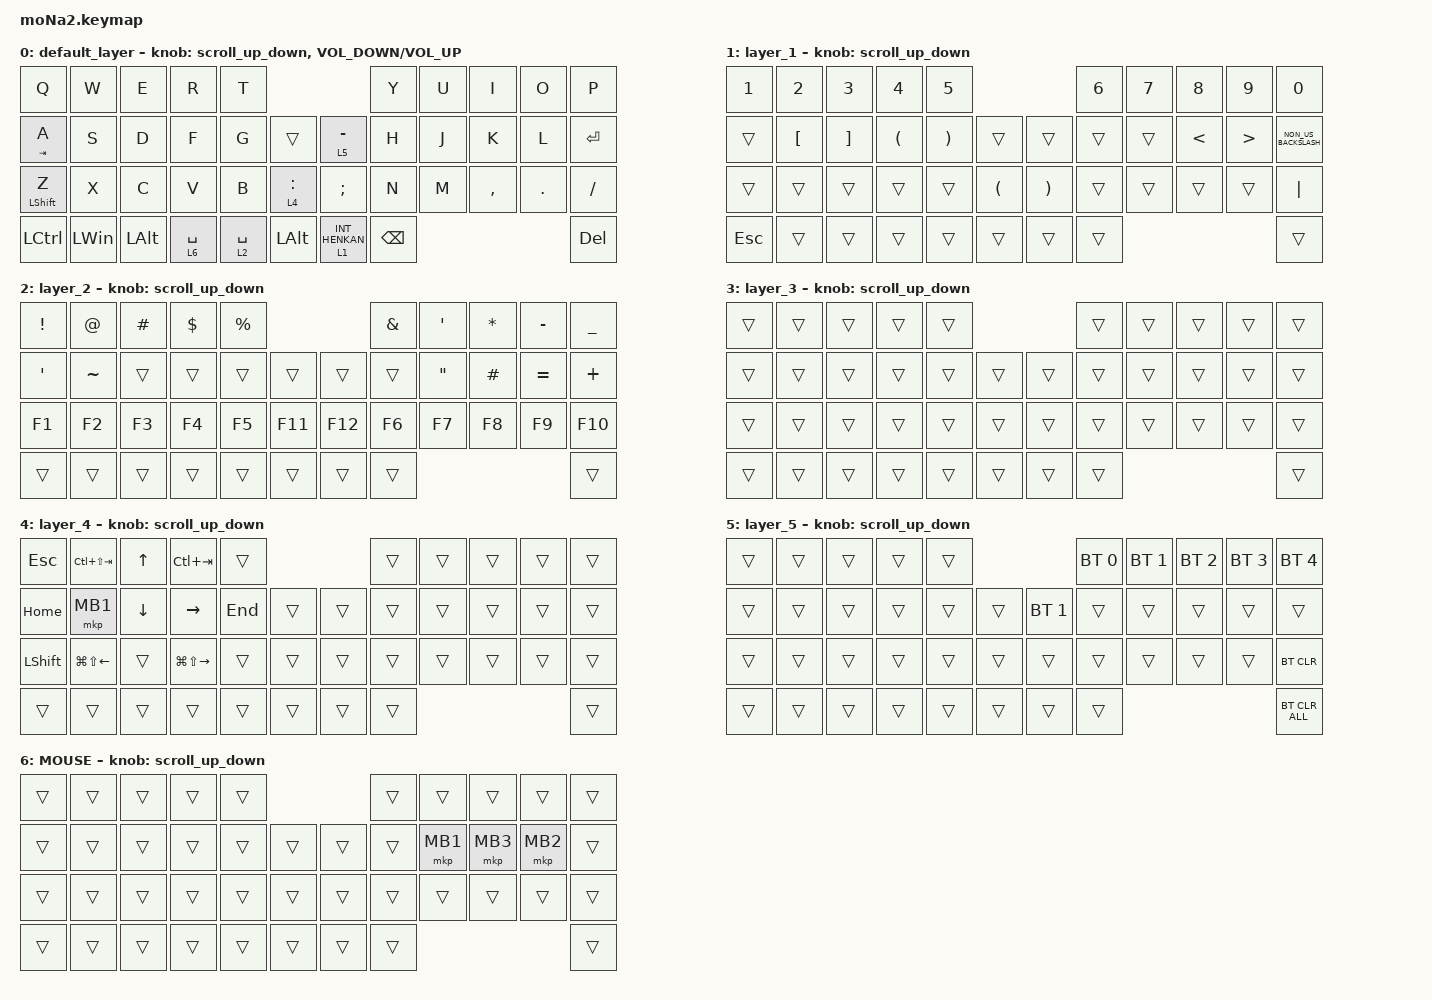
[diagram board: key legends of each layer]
#include <behaviors.dtsi>
#include <dt-bindings/zmk/bt.h>
#include <dt-bindings/zmk/keys.h>
#include <dt-bindings/zmk/pointing.h>

#define ZMK_POINTING_DEFAULT_SCRL_VAL 100
#define MOUSE 6

&mt {
    flavor = "balanced";
    quick-tap-ms = <0>;
};

/ {
    combos { compatible = "zmk,combos"; };

    macros {
        to_layer_0: to_layer_0 {
            compatible = "zmk,behavior-macro-one-param";
            #binding-cells = <1>;
            bindings = <&to 0 &macro_param_1to1 &kp MACRO_PLACEHOLDER>;
            label = "TO_LAYER_0";
        };
    };

    behaviors {
        lt_to_layer_0: lt_to_layer_0 {
            compatible = "zmk,behavior-hold-tap";
            label = "LAYER_TAP_TO_0";
            bindings = <&mo>, <&to_layer_0>;

            #binding-cells = <2>;
            tapping-term-ms = <200>;
        };

        scroll_up_down: behavior_sensor_rotate_mouse_wheel_up_down {
            compatible = "zmk,behavior-sensor-rotate";
            #sensor-binding-cells = <0>;
            bindings = <&msc SCRL_UP>, <&msc SCRL_DOWN>;

            tap-ms = <20>;
        };
    };

    keymap {
        compatible = "zmk,keymap";

        default_layer {
            bindings = <
&kp Q             &kp W         &kp E         &kp R                   &kp T                                                           &kp Y          &kp U  &kp I      &kp O    &kp P
&mt TAB A         &kp S         &kp D         &kp F                   &kp G                   &trans          &lt_to_layer_0 5 MINUS  &kp H          &kp J  &kp K      &kp L    &kp ENTER
&mt LEFT_SHIFT Z  &kp X         &kp C         &kp V                   &kp B                   &lt 4 COLON     &kp SEMICOLON           &kp N          &kp M  &kp COMMA  &kp DOT  &kp SLASH
&kp LEFT_CONTROL  &kp LEFT_WIN  &kp LEFT_ALT  &lt_to_layer_0 6 SPACE  &lt_to_layer_0 2 SPACE  &kp LEFT_ALT    &lt 1 INT_HENKAN        &kp BACKSPACE                             &kp DEL
            >;

            sensor-bindings =
                <&scroll_up_down>,
                <&inc_dec_kp C_VOLUME_DOWN C_VOLUME_UP>;
        };

        layer_1 {
            bindings = <
&kp NUMBER_1  &kp NUMBER_2      &kp NUMBER_3       &kp NUMBER_4          &kp NUMBER_5                                                          &kp NUMBER_6  &kp NUMBER_7  &kp NUMBER_8   &kp NUMBER_9      &kp NUMBER_0
&trans        &kp LEFT_BRACKET  &kp RIGHT_BRACKET  &kp LEFT_PARENTHESIS  &kp RIGHT_PARENTHESIS  &trans                  &trans                 &trans        &trans        &kp LESS_THAN  &kp GREATER_THAN  &kp NON_US_BACKSLASH
&trans        &trans            &trans             &trans                &trans                 &kp LEFT_PARENTHESIS    &kp RIGHT_PARENTHESIS  &trans        &trans        &trans         &trans            &kp PIPE
&kp ESCAPE    &trans            &trans             &trans                &trans                 &trans                  &trans                 &trans                                                       &trans
            >;

            sensor-bindings = <&scroll_up_down>;
        };

        layer_2 {
            bindings = <
&kp EXCLAMATION  &kp AT_SIGN  &kp HASH  &kp DOLLAR  &kp PERCENT                      &kp AMPERSAND  &kp SQT            &kp ASTERISK  &kp MINUS  &kp UNDERSCORE
&kp SQT          &kp TILDE    &trans    &trans      &trans       &trans     &trans   &trans         &kp DOUBLE_QUOTES  &kp HASH      &kp EQUAL  &kp PLUS
&kp F1           &kp F2       &kp F3    &kp F4      &kp F5       &kp F11    &kp F12  &kp F6         &kp F7             &kp F8        &kp F9     &kp F10
&trans           &trans       &trans    &trans      &trans       &trans     &trans   &trans                                                     &trans
            >;

            sensor-bindings = <&scroll_up_down>;
        };

        layer_3 {
            bindings = <
&trans  &trans  &trans  &trans  &trans                    &trans  &trans  &trans  &trans  &trans
&trans  &trans  &trans  &trans  &trans  &trans    &trans  &trans  &trans  &trans  &trans  &trans
&trans  &trans  &trans  &trans  &trans  &trans    &trans  &trans  &trans  &trans  &trans  &trans
&trans  &trans  &trans  &trans  &trans  &trans    &trans  &trans                          &trans
            >;

            sensor-bindings = <&scroll_up_down>;
        };

        layer_4 {
            bindings = <
&kp ESCAPE      &kp LC(LS(TAB))         &kp UP_ARROW    &kp LC(TAB)              &trans                     &trans  &trans  &trans  &trans  &trans
&kp HOME        &mkp MB1                &kp DOWN_ARROW  &kp RIGHT_ARROW          &kp END  &trans    &trans  &trans  &trans  &trans  &trans  &trans
&kp LEFT_SHIFT  &kp LG(LS(LEFT_ARROW))  &trans          &kp LG(LS(RIGHT_ARROW))  &trans   &trans    &trans  &trans  &trans  &trans  &trans  &trans
&trans          &trans                  &trans          &trans                   &trans   &trans    &trans  &trans                          &trans
            >;

            sensor-bindings = <&scroll_up_down>;
        };

        layer_5 {
            bindings = <
&trans  &trans  &trans  &trans  &trans                          &bt BT_SEL 0  &bt BT_SEL 1  &bt BT_SEL 2  &bt BT_SEL 3  &bt BT_SEL 4
&trans  &trans  &trans  &trans  &trans  &trans    &bt BT_SEL 1  &trans        &trans        &trans        &trans        &trans
&trans  &trans  &trans  &trans  &trans  &trans    &trans        &trans        &trans        &trans        &trans        &bt BT_CLR
&trans  &trans  &trans  &trans  &trans  &trans    &trans        &trans                                                  &bt BT_CLR_ALL
            >;

            sensor-bindings = <&scroll_up_down>;
        };

        MOUSE {
            bindings = <
&trans  &trans  &trans  &trans  &trans                    &trans  &trans    &trans    &trans    &trans
&trans  &trans  &trans  &trans  &trans  &trans    &trans  &trans  &mkp MB1  &mkp MB3  &mkp MB2  &trans
&trans  &trans  &trans  &trans  &trans  &trans    &trans  &trans  &trans    &trans    &trans    &trans
&trans  &trans  &trans  &trans  &trans  &trans    &trans  &trans                                &trans
            >;

            sensor-bindings = <&scroll_up_down>;
        };
    };
};
